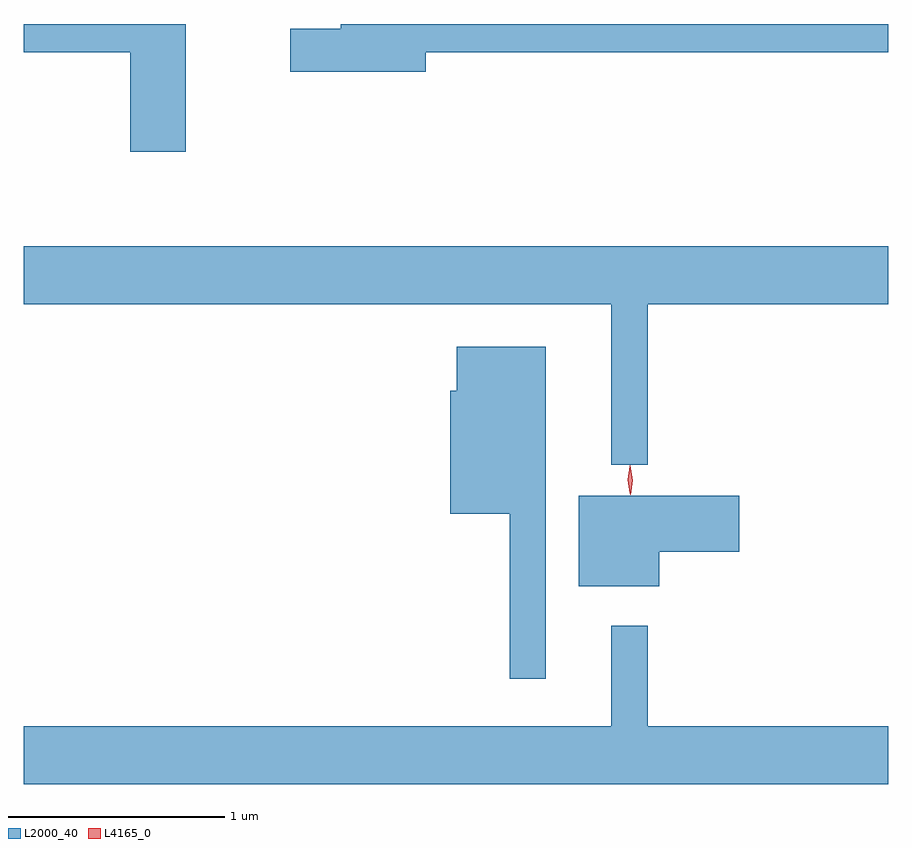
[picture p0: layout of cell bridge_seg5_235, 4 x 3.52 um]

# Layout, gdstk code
import gdstk
lib = gdstk.Library(unit=1e-6, precision=1e-09)
def P(c, l, *ps):  # polygons
    for p in ps: c.add(gdstk.Polygon(p, *l))
L2000_40 = (2000, 40)
L4165_0 = (4165, 0)

bridge_seg5_235 = lib.new_cell('bridge_seg5_235')
P(bridge_seg5_235, L2000_40, [(1010.284,1529.001),(1012.423,1529.001),(1012.423,1529.131),(1009.891,1529.131),(1009.891,1529.109),(1009.656,1529.109),(1009.656,1528.911),(1010.284,1528.911)],
  [(1009.174,1529.131),(1008.423,1529.131),(1008.423,1529.001),(1008.916,1529.001),(1008.916,1528.541),(1009.174,1528.541)],
  [(1011.309,1527.836),(1012.423,1527.836),(1012.423,1528.104),(1008.423,1528.104),(1008.423,1527.836),(1011.141,1527.836),(1011.141,1527.093),(1011.309,1527.093)],
  [(1010.839,1527.639),(1010.426,1527.639),(1010.426,1527.434),(1010.396,1527.434),(1010.396,1526.866),(1010.671,1526.866),(1010.671,1526.103),(1010.839,1526.103)],
  [(1011.364,1526.691),(1011.734,1526.691),(1011.734,1526.949),(1010.991,1526.949),(1010.991,1526.531),(1011.364,1526.531)],
  [(1012.423,1525.884),(1011.309,1525.884),(1011.309,1526.348),(1011.141,1526.348),(1011.141,1525.884),(1008.423,1525.884),(1008.423,1525.616),(1012.423,1525.616)])
P(bridge_seg5_235, L4165_0, [(1011.23,1526.954),(1011.23,1526.954),(1011.22,1527.022),(1011.229,1527.09),(1011.229,1527.09),(1011.23,1527.09),(1011.24,1527.022),(1011.231,1526.954)],
  [(1011.227,1526.96),(1011.227,1526.96),(1011.217,1527.023),(1011.227,1527.086),(1011.227,1527.087),(1011.228,1527.086),(1011.237,1527.023),(1011.228,1526.96)])

lib.write_gds('bridge_seg5_235.gds')
